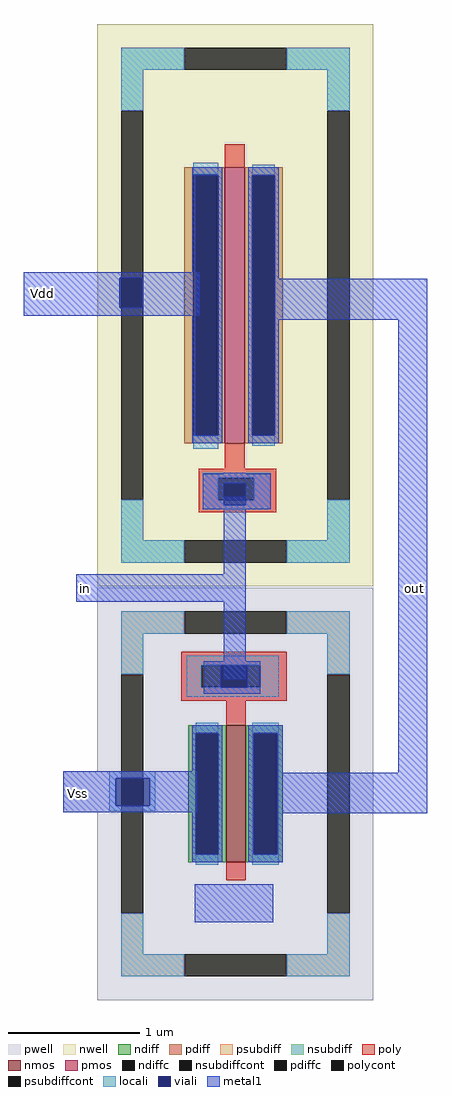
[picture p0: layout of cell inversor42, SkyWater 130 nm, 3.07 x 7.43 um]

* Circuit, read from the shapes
.subckt inversor42 Vdd in out Vss
XM1 out in Vss Vss sky130_fd_pr__nfet_01v8 w=1.04 l=0.15
XM2 out in Vdd Vdd sky130_fd_pr__pfet_01v8 w=2.1 l=0.15
.ends

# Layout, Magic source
magic
tech sky130B
<< pwell >>
rect 530 49 632 80
<< locali >>
rect 565 75 600 80
rect 565 54 570 75
rect 596 54 600 75
rect 565 50 600 54
<< viali >>
rect 573 433 590 456
rect 570 54 596 75
<< metal1 >>
rect 500 456 634 460
rect 500 433 573 456
rect 590 433 634 456
rect 500 427 634 433
rect 691 424 807 455
rect 652 230 669 289
rect 540 209 669 230
rect 652 150 669 209
rect 530 75 632 80
rect 785 79 807 424
rect 530 54 570 75
rect 596 54 632 75
rect 530 49 632 54
rect 693 48 807 79
rect 630 -35 690 -6
use sky130_fd_pr__nfet_01v8_6S25M9  XM1 ~/facultadUTN/dispositivosElectronicos/trabajosPracticos/tp6/inversor
transform 1 0 661 0 1 63
box -105 -157 105 157
use sky130_fd_pr__pfet_01v8_DRQ6M2  XM2 ~/facultadUTN/dispositivosElectronicos/trabajosPracticos/tp6/inversor
transform 1 0 661 0 1 435
box -105 -214 105 214
<< labels >>
rlabel metal1 541 209 553 230 1 in
port 2 nsew
rlabel metal1 532 52 549 75 1 Vss
port 4 nsew
rlabel metal1 502 430 527 458 1 Vdd
port 1 nsew
rlabel metal1 790 208 804 231 1 out
port 3 nsew
<< end >>

# cell sky130_fd_pr__nfet_01v8_6S25M9: kit device sky130_fd_pr__nfet_01v8, w 1.05 l 0.15 m 1 nf 1 diffcov 100 polycov 100 guard 1 glc 1 grc 1 gtc 1 gbc 1 tbcov 100 rlcov 100 topc 1 botc 1 poverlap 0 doverlap 1 lmin 0.15 wmin 0.42 class mosfet compatible {sky130_fd_pr__nfet_01v8 sky130_fd_pr__nfet_01v8_lvt sky130_fd_bs_flash__special_sonosfet_star sky130_fd_pr__nfet_g5v0d10v5 sky130_fd_pr__nfet_05v0_nvt sky130_fd_pr__nfet_03v3_nvt} full_metal 1 viasrc 100 viadrn 100 viagate 100 viagb 0 viagr 0 viagl 0 viagt 0

# cell sky130_fd_pr__pfet_01v8_DRQ6M2: kit device sky130_fd_pr__pfet_01v8, w 2.1 l 0.15 m 1 nf 1 diffcov 100 polycov 100 guard 1 glc 1 grc 1 gtc 1 gbc 1 tbcov 100 rlcov 100 topc 1 botc 1 poverlap 0 doverlap 1 lmin 0.15 wmin 0.42 class mosfet compatible {sky130_fd_pr__pfet_01v8 sky130_fd_pr__pfet_01v8_lvt sky130_fd_pr__pfet_01v8_hvt sky130_fd_pr__pfet_g5v0d10v5} full_metal 1 viasrc 100 viadrn 100 viagate 100 viagb 0 viagr 0 viagl 0 viagt 0
